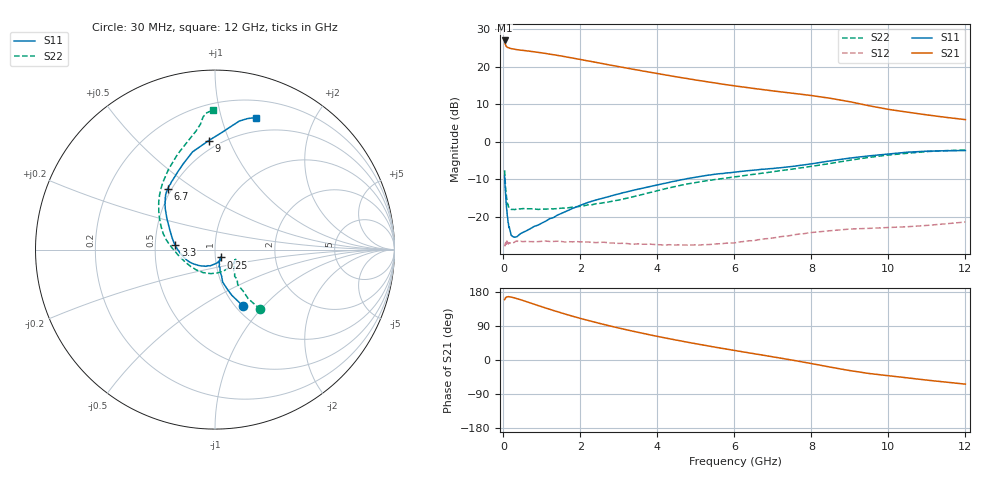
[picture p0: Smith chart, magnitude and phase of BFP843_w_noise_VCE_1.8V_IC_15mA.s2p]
! Infineon Technologies  Discrete & RF Semiconductors
! BFP843
! VCE =  1.8 V,  IC =  15 mA
! Common Emitter S-Parameters:  Aug 2013
# GHz  S  MA  R  50
!  f  S11  S21  S12  S22
! GHz  MAG  ANG  MAG  ANG  MAG  ANG  MAG  ANG
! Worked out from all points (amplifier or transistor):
!   103 points, 30 MHz to 12 GHz, reference 50 ohm
!   highest |S21| = 27.0 dB at 30 MHz (marker M1)
!   |S21| within 3 dB of that: start of sweep to 777.9 MHz
!   unconditionally stable (mu >= 1): 99.73 MHz to 101.5 MHz; 116.3 MHz to 10.85 GHz
!   at 400 MHz: K = 1.02, MAG = 24.7 dB, |S12| = -26.6 dB
!   at 3.7 GHz: K = 1.37, MAG = 19.4 dB, |S12| = -27.3 dB
!   at 12 GHz: K = 0.85, MSG = 13.6 dB, |S12| = -21.4 dB
!   lowest NFmin = 0.97 dB at 450 MHz
!   S11 on the Smith chart (normalised r, x): 30 MHz: 1.08, -0.78; 250 MHz: 1.06, -0.09; 3.3 GHz: 0.64, +0.03; 6.7 GHz: 0.48, +0.40; 9 GHz: 0.44, +0.84; 12 GHz: 0.37, +1.30
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0.03  0.3543 -63.4  22.43 159.2  0.0417 27.6  0.4188 -52.8
0.04  0.2713 -69.8  20.75 160.8  0.0412 21.8  0.3302 -55.9
0.05  0.2222 -73.4  19.83 163.5  0.0449 16.4  0.2758 -55.9
0.07  0.1532 -76.0  18.75 165.4  0.0408 15.5  0.2054 -53.2
0.1  0.1035 -74.4  18.2 166.7  0.0429 10.8  0.1546 -47.7
0.13  0.0817 -72.8  17.98 167.2  0.0436 7.8  0.1367 -40.1
0.25  0.0544 -53.0  17.32 164.7  0.0448 3.8  0.1259 -26.2
0.8  0.0749 -80.5  15.82 147.1  0.0468 0.3  0.128 -45.7
1.2  0.0948 -107.0  14.75 133.8  0.0471 -1.6  0.1282 -68.4
1.6  0.1171 -128.8  13.64 121.3  0.0463 -2.3  0.1313 -89.5
2.1  0.1494 -149.6  12.22 107.0  0.0465 -3.2  0.1412 -113.8
2.7  0.1846 -169.2  10.71 91.5  0.0455 -4.2  0.157 -138.2
3.3  0.2216 173.9  9.418 77.4  0.0437 -4.4  0.182 -159.0
4.1  0.2742 156.6  7.96 60.3  0.0425 -3.0  0.2303 -179.9
5  0.3388 143.7  6.666 42.9  0.0425 1.5  0.2875 166.0
6.1  0.4004 133.8  5.489 23.6  0.0461 6.6  0.3465 152.4
6.7  0.4306 127.9  4.998 13.5  0.0502 7.3  0.3816 145.2
7.7  0.486 114.5  4.325 -3.9  0.0592 6.6  0.4493 132.5
8.5  0.5589 102.9  3.797 -18.9  0.0656 2.3  0.5166 120.1
9  0.6083 93.3  3.424 -28.0  0.069 -1.1  0.5694 111.6
10.5  0.7288 79.3  2.486 -47.2  0.0741 -7.9  0.7055 96.5
12  0.7662 72.6  1.979 -63.7  0.0856 -14.5  0.7775 90.8
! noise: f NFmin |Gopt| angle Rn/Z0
0.45  0.97  0.07  -172  0.03
0.9  0.97  0.08  -164  0.06
1.5  0.99  0.08  -156  0.12
1.9  1.01  0.08  -146  0.18
2.4  1.04  0.07  -134  0.26
3.5  1.09  0.07  -115  0.29
5.5  1.2  0.21  -114  0.36
10  1.8  0.51  -63  0.48
